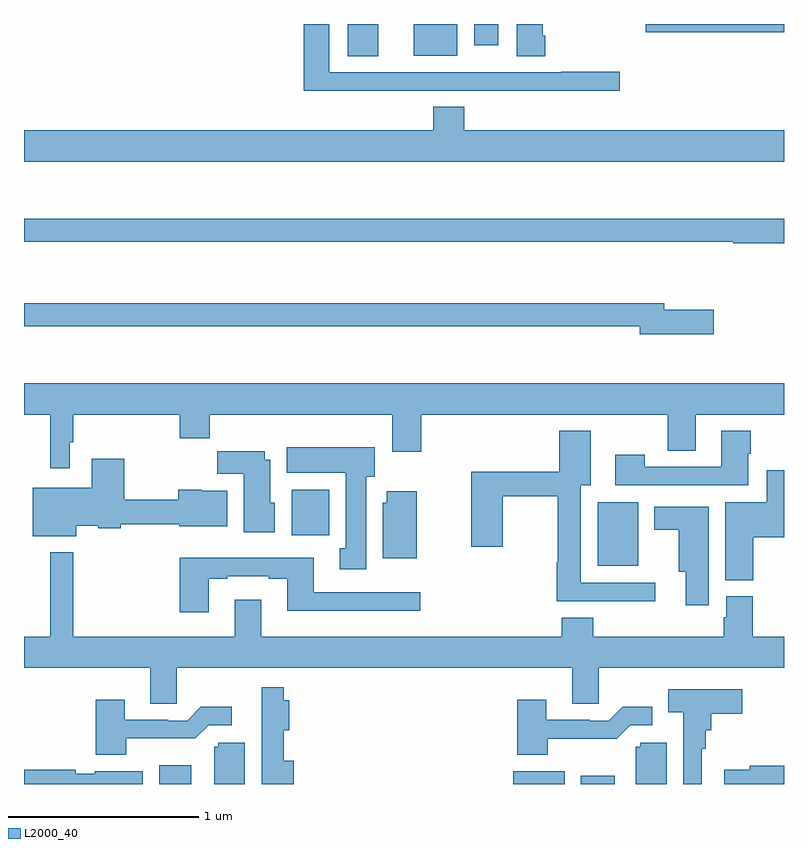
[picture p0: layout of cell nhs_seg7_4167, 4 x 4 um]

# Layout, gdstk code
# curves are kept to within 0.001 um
import gdstk
lib = gdstk.Library(unit=1e-6, precision=1e-09)
def R(c, l, rs):  # rectangles x0, y0, x1, y1
    for r in rs: c.add(gdstk.rectangle(r[:2], r[2:], *l))
def P(c, l, *ps):  # polygons
    for p in ps: c.add(gdstk.Polygon(p, *l))
L2000_40 = (2000, 40)

nhs_seg7_4167 = lib.new_cell('nhs_seg7_4167')
R(nhs_seg7_4167, L2000_40, [(375.711,1004,375.88,1004.098), (377.576,1004,377.846,1004.068), (377.931,1004,378.109,1004.044), (378.02,1005.149,378.232,1005.484), (376.409,1005.308,376.606,1005.55), (376.703,1007.83,376.864,1008), (377.051,1007.834,377.281,1008), (377.369,1007.889,377.497,1008), (378.273,1007.956,379,1008)])
P(nhs_seg7_4167, L2000_40, [(377.069,1007.649),(377.401,1007.649),(377.401,1007.648),(378.136,1007.648),(378.136,1007.75),(377.827,1007.75),(377.827,1007.745),(376.606,1007.745),(376.606,1008),(376.472,1008),(376.472,1007.648),(377.069,1007.648)],
  [(377.744,1007.938),(377.731,1007.938),(377.731,1008),(377.594,1008),(377.594,1007.83),(377.744,1007.83)],
  [(379,1007.44),(377.318,1007.44),(377.318,1007.564),(377.153,1007.564),(377.153,1007.44),(375,1007.44),(375,1007.276),(379,1007.276)],
  [(379,1006.975),(375,1006.975),(375,1006.854),(378.734,1006.854),(378.734,1006.846),(379,1006.846)],
  [(378.631,1006.497),(378.37,1006.497),(378.37,1006.531),(375,1006.531),(375,1006.41),(378.242,1006.41),(378.242,1006.367),(378.631,1006.367)],
  [(375.241,1005.799),(375.259,1005.799),(375.259,1005.944),(375.821,1005.944),(375.821,1005.82),(375.977,1005.82),(375.977,1005.944),(376.937,1005.944),(376.937,1005.75),(377.09,1005.75),(377.09,1005.944),(378.388,1005.944),(378.388,1005.754),(378.535,1005.754),(378.535,1005.944),(379,1005.944),(379,1006.108),(375,1006.108),(375,1005.944),(375.137,1005.944),(375.137,1005.663),(375.241,1005.663)],
  [(378.322,1005.06),(377.929,1005.06),(377.929,1005.572),(377.983,1005.572),(377.983,1005.859),(377.816,1005.859),(377.816,1005.643),(377.354,1005.643),(377.354,1005.249),(377.52,1005.249),(377.52,1005.514),(377.809,1005.514),(377.809,1005.167),(377.804,1005.167),(377.804,1004.963),(378.322,1004.963)],
  [(378.811,1005.739),(378.824,1005.739),(378.824,1005.859),(378.671,1005.859),(378.671,1005.669),(378.267,1005.669),(378.267,1005.733),(378.111,1005.733),(378.111,1005.573),(378.811,1005.573)],
  [(376.801,1005.618),(376.846,1005.618),(376.846,1005.772),(376.382,1005.772),(376.382,1005.638),(376.694,1005.638),(376.694,1005.242),(376.661,1005.242),(376.661,1005.129),(376.801,1005.129)],
  [(376.321,1005.48),(376.297,1005.48),(376.297,1005.706),(376.267,1005.706),(376.267,1005.751),(376.018,1005.751),(376.018,1005.632),(376.157,1005.632),(376.157,1005.326),(376.321,1005.326)],
  [(375.274,1005.359),(375.39,1005.359),(375.39,1005.347),(375.51,1005.347),(375.51,1005.367),(375.818,1005.367),(375.818,1005.356),(376.069,1005.356),(376.069,1005.544),(375.936,1005.544),(375.936,1005.55),(375.811,1005.55),(375.811,1005.496),(375.527,1005.496),(375.527,1005.712),(375.356,1005.712),(375.356,1005.559),(375.047,1005.559),(375.047,1005.305),(375.274,1005.305)],
  [(378.839,1005.299),(379,1005.299),(379,1005.652),(378.908,1005.652),(378.908,1005.484),(378.692,1005.484),(378.692,1005.073),(378.839,1005.073)],
  [(377.068,1005.541),(376.91,1005.541),(376.91,1005.48),(376.889,1005.48),(376.889,1005.188),(377.068,1005.188)],
  [(378.604,1005.46),(378.317,1005.46),(378.317,1005.338),(378.446,1005.338),(378.446,1005.116),(378.482,1005.116),(378.482,1004.94),(378.604,1004.94)],
  [(375.804,1004.612),(377.885,1004.612),(377.885,1004.422),(378.024,1004.422),(378.024,1004.612),(379,1004.612),(379,1004.776),(378.836,1004.776),(378.836,1004.988),(378.695,1004.988),(378.695,1004.877),(378.683,1004.877),(378.683,1004.776),(377.996,1004.776),(377.996,1004.875),(377.831,1004.875),(377.831,1004.776),(376.249,1004.776),(376.249,1004.971),(376.109,1004.971),(376.109,1004.776),(375.259,1004.776),(375.259,1005.22),(375.137,1005.22),(375.137,1004.776),(375,1004.776),(375,1004.612),(375.665,1004.612),(375.665,1004.422),(375.804,1004.422)],
  [(375.973,1005.081),(376.069,1005.081),(376.069,1005.093),(376.289,1005.093),(376.289,1005.081),(376.385,1005.081),(376.385,1004.912),(377.086,1004.912),(377.086,1005.009),(376.525,1005.009),(376.525,1005.19),(375.821,1005.19),(375.821,1004.904),(375.973,1004.904)],
  [(376.421,1004.122),(376.367,1004.122),(376.367,1004.282),(376.397,1004.282),(376.397,1004.44),(376.367,1004.44),(376.367,1004.509),(376.25,1004.509),(376.25,1004.286),(376.251,1004.286),(376.251,1004.018),(376.25,1004.018),(376.25,1004),(376.421,1004)],
  [(378.567,1004.186),(378.587,1004.186),(378.587,1004.282),(378.617,1004.282),(378.617,1004.371),(378.781,1004.371),(378.781,1004.5),(378.391,1004.5),(378.391,1004.378),(378.471,1004.378),(378.471,1004),(378.567,1004)],
  [(377.757,1004.238),(378.119,1004.237),(378.192,1004.31),(378.306,1004.31),(378.306,1004.407),(378.151,1004.407),(378.078,1004.334),(377.978,1004.334),(377.978,1004.337),(377.749,1004.337),(377.749,1004.443),(377.597,1004.443),(377.597,1004.153),(377.757,1004.153)],
  [(375.537,1004.24),(375.901,1004.24),(375.972,1004.31),(376.093,1004.31),(376.093,1004.407),(375.931,1004.407),(375.858,1004.334),(375.758,1004.334),(375.758,1004.337),(375.529,1004.337),(375.529,1004.443),(375.377,1004.443),(375.377,1004.153),(375.537,1004.153)],
  [(378.382,1004.217),(378.243,1004.217),(378.243,1004.196),(378.221,1004.196),(378.221,1004),(378.382,1004)],
  [(376.162,1004.217),(376.023,1004.217),(376.023,1004.196),(376.001,1004.196),(376.001,1004),(376.162,1004)],
  [(379,1004.096),(378.82,1004.096),(378.82,1004.076),(378.686,1004.076),(378.686,1004),(379,1004)],
  [(375.626,1004.068),(375.372,1004.068),(375.372,1004.055),(375.272,1004.055),(375.272,1004.075),(375,1004.075),(375,1004),(375.626,1004)])

lib.write_gds('nhs_seg7_4167.gds')
